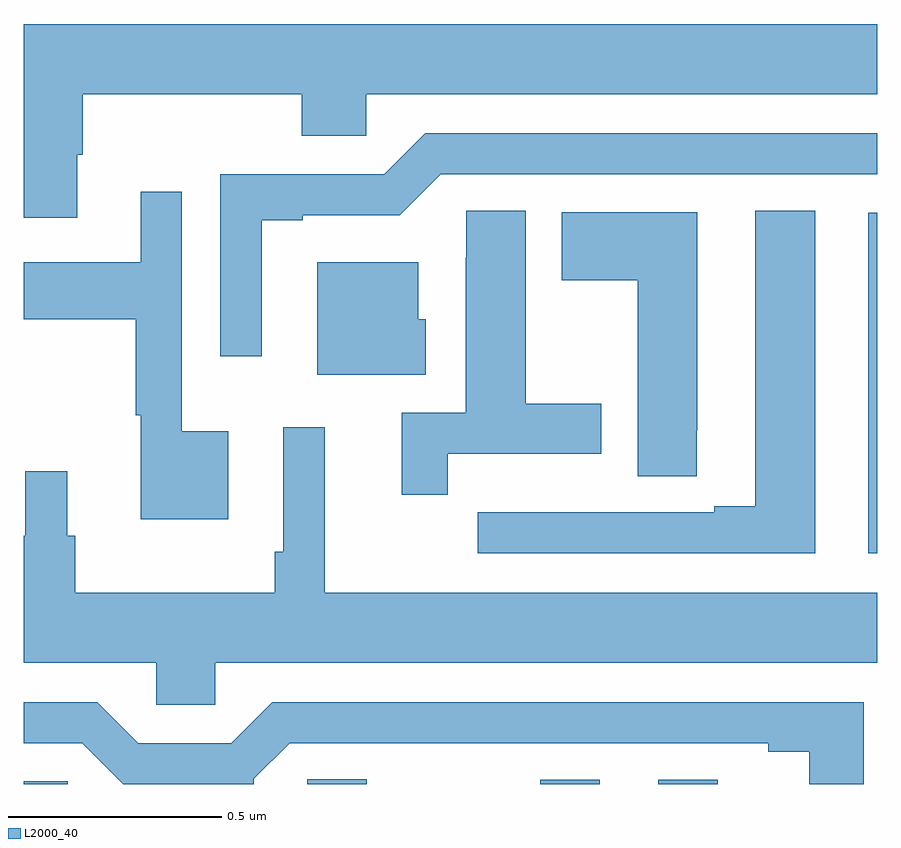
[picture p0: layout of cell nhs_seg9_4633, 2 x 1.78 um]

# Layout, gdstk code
import gdstk
lib = gdstk.Library(unit=1e-6, precision=1e-09)
def R(c, l, rs):  # rectangles x0, y0, x1, y1
    for r in rs: c.add(gdstk.rectangle(r[:2], r[2:], *l))
def P(c, l, *ps):  # polygons
    for p in ps: c.add(gdstk.Polygon(p, *l))
L2000_40 = (2000, 40)

nhs_seg9_4633 = lib.new_cell('nhs_seg9_4633')
R(nhs_seg9_4633, L2000_40, [(169,1165.5,169.104,1165.506), (169.665,1165.5,169.804,1165.511), (170.21,1165.5,170.35,1165.51), (170.486,1165.5,170.626,1165.51), (170.978,1166.04,171,1166.838)])
P(nhs_seg9_4633, L2000_40, [(169.126,1166.974),(169.139,1166.974),(169.139,1167.116),(169.652,1167.116),(169.652,1167.018),(169.803,1167.018),(169.803,1167.116),(171,1167.116),(171,1167.28),(169,1167.28),(169,1166.826),(169.126,1166.826)],
  [(169.558,1166.82),(169.654,1166.82),(169.654,1166.832),(169.881,1166.832),(169.977,1166.928),(171,1166.928),(171,1167.024),(169.941,1167.024),(169.845,1166.928),(169.461,1166.928),(169.461,1166.502),(169.558,1166.502)],
  [(169.48,1166.326),(169.371,1166.326),(169.371,1166.887),(169.274,1166.887),(169.274,1166.722),(169,1166.722),(169,1166.588),(169.263,1166.588),(169.263,1166.364),(169.274,1166.364),(169.274,1166.12),(169.48,1166.12)],
  [(169.994,1166.274),(170.353,1166.274),(170.353,1166.391),(170.176,1166.391),(170.176,1166.843),(170.037,1166.843),(170.037,1166.732),(170.036,1166.732),(170.036,1166.37),(169.886,1166.37),(169.886,1166.178),(169.994,1166.178)],
  [(170.854,1166.843),(170.714,1166.843),(170.714,1166.151),(170.618,1166.151),(170.618,1166.136),(170.342,1166.136),(170.342,1166.137),(170.176,1166.137),(170.176,1166.136),(170.064,1166.136),(170.064,1166.04),(170.854,1166.04)],
  [(170.577,1166.329),(170.578,1166.329),(170.578,1166.839),(170.261,1166.839),(170.261,1166.68),(170.438,1166.68),(170.438,1166.221),(170.577,1166.221)],
  [(169.942,1166.589),(169.924,1166.589),(169.924,1166.722),(169.688,1166.722),(169.688,1166.459),(169.942,1166.459)],
  [(169.449,1165.784),(171,1165.784),(171,1165.948),(169.706,1165.948),(169.706,1166.335),(169.608,1166.335),(169.608,1166.044),(169.588,1166.044),(169.588,1165.948),(169.121,1165.948),(169.121,1166.082),(169.102,1166.082),(169.102,1166.233),(169.004,1166.233),(169.004,1166.082),(169,1166.082),(169,1165.784),(169.311,1165.784),(169.311,1165.686),(169.449,1165.686)],
  [(169.539,1165.512),(169.623,1165.596),(170.744,1165.596),(170.744,1165.576),(170.84,1165.576),(170.84,1165.5),(170.968,1165.5),(170.968,1165.692),(169.583,1165.692),(169.487,1165.596),(169.269,1165.596),(169.173,1165.692),(169,1165.692),(169,1165.596),(169.137,1165.596),(169.233,1165.5),(169.539,1165.5)])

lib.write_gds('nhs_seg9_4633.gds')
